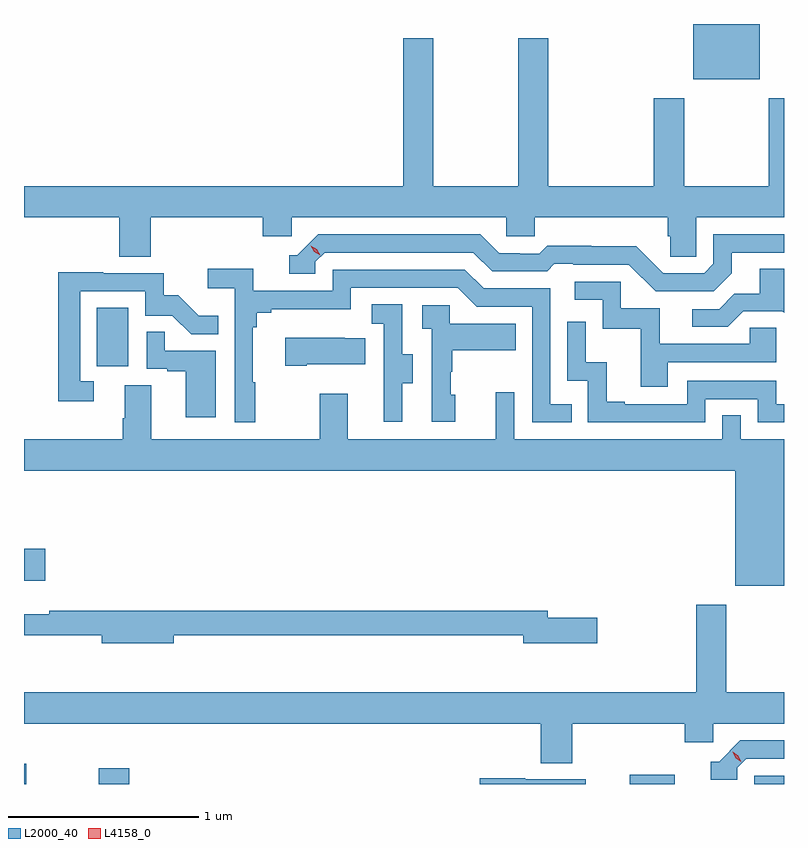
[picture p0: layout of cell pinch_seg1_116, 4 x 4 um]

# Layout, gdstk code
import gdstk
lib = gdstk.Library(unit=1e-6, precision=1e-09)
def R(c, l, rs):  # rectangles x0, y0, x1, y1
    for r in rs: c.add(gdstk.rectangle(r[:2], r[2:], *l))
def P(c, l, *ps):  # polygons
    for p in ps: c.add(gdstk.Polygon(p, *l))
L2000_40 = (2000, 40)
L4158_0 = (4158, 0)

pinch_seg1_116 = lib.new_cell('pinch_seg1_116')
R(pinch_seg1_116, L2000_40, [(1071.584,543.422,1071.595,543.528), (1071.977,543.422,1072.138,543.505), (1074.771,543.422,1075.01,543.47), (1075.428,543.422,1075.584,543.465), (1071.584,544.493,1071.697,544.659), (1071.968,545.622,1072.132,545.929), (1075.106,547.13,1075.456,547.422)])
P(pinch_seg1_116, L2000_40, [(1072.25,546.404),(1072.841,546.404),(1072.841,546.306),(1072.992,546.306),(1072.992,546.404),(1074.123,546.404),(1074.123,546.306),(1074.273,546.306),(1074.273,546.404),(1074.971,546.404),(1074.971,546.306),(1074.985,546.306),(1074.985,546.196),(1075.122,546.196),(1075.122,546.404),(1075.584,546.404),(1075.584,547.03),(1075.504,547.03),(1075.504,546.568),(1075.059,546.568),(1075.059,547.03),(1074.899,547.03),(1074.899,546.568),(1074.344,546.568),(1074.344,547.348),(1074.184,547.348),(1074.184,546.568),(1073.739,546.568),(1073.739,547.348),(1073.579,547.348),(1073.579,546.568),(1071.584,546.568),(1071.584,546.404),(1072.085,546.404),(1072.085,546.196),(1072.25,546.196)],
  [(1075.309,546.109),(1075.309,546.219),(1075.584,546.219),(1075.584,546.315),(1075.212,546.315),(1075.212,546.159),(1075.164,546.111),(1074.948,546.111),(1074.806,546.253),(1074.57,546.253),(1074.57,546.256),(1074.337,546.256),(1074.295,546.213),(1074.192,546.213),(1074.192,546.216),(1074.085,546.216),(1073.986,546.315),(1073.133,546.315),(1073.022,546.204),(1072.979,546.204),(1072.979,546.108),(1073.118,546.108),(1073.118,546.171),(1073.166,546.219),(1073.949,546.219),(1074.048,546.12),(1074.337,546.12),(1074.376,546.159),(1074.475,546.159),(1074.475,546.156),(1074.768,546.156),(1074.909,546.015),(1075.215,546.015)],
  [(1075.369,545.91),(1075.575,545.91),(1075.584,545.901),(1075.584,546.134),(1075.457,546.134),(1075.457,546.002),(1075.322,546.002),(1075.242,545.922),(1075.101,545.922),(1075.101,545.829),(1075.288,545.829)],
  [(1072.801,545.537),(1072.789,545.537),(1072.789,545.825),(1072.808,545.825),(1072.808,545.902),(1072.885,545.902),(1072.885,545.921),(1073.304,545.921),(1073.304,546.033),(1073.868,546.033),(1073.967,545.934),(1074.258,545.934),(1074.258,545.325),(1074.467,545.325),(1074.467,545.421),(1074.354,545.421),(1074.354,546.03),(1074.004,546.03),(1073.905,546.129),(1073.208,546.129),(1073.208,546.018),(1072.79,546.018),(1072.79,546.134),(1072.551,546.134),(1072.551,546.032),(1072.692,546.032),(1072.692,545.325),(1072.801,545.325)],
  [(1071.952,545.541),(1071.879,545.541),(1071.879,546.015),(1072.221,546.015),(1072.221,545.886),(1072.365,545.886),(1072.463,545.788),(1072.607,545.788),(1072.607,545.887),(1072.503,545.887),(1072.396,545.994),(1072.32,545.994),(1072.32,546.111),(1072.001,546.111),(1072.001,546.116),(1071.763,546.116),(1071.763,545.436),(1071.952,545.436)],
  [(1074.973,545.643),(1075.542,545.643),(1075.542,545.823),(1075.405,545.823),(1075.405,545.739),(1074.931,545.739),(1074.931,545.925),(1074.726,545.925),(1074.726,546.066),(1074.483,546.066),(1074.483,545.97),(1074.63,545.97),(1074.63,545.817),(1074.829,545.817),(1074.829,545.514),(1074.973,545.514)],
  [(1073.575,545.53),(1073.629,545.53),(1073.629,545.685),(1073.574,545.685),(1073.574,545.948),(1073.415,545.948),(1073.415,545.845),(1073.478,545.845),(1073.478,545.541),(1073.477,545.541),(1073.477,545.328),(1073.575,545.328)],
  [(1073.854,545.472),(1073.829,545.472),(1073.829,545.591),(1073.839,545.591),(1073.839,545.705),(1074.173,545.705),(1074.173,545.845),(1073.826,545.845),(1073.826,545.943),(1073.679,545.943),(1073.679,545.819),(1073.73,545.819),(1073.73,545.328),(1073.854,545.328)],
  [(1075.17,545.448),(1075.446,545.448),(1075.446,545.325),(1075.584,545.325),(1075.584,545.421),(1075.542,545.421),(1075.542,545.544),(1075.074,545.544),(1075.074,545.421),(1074.745,545.421),(1074.745,545.434),(1074.65,545.434),(1074.65,545.642),(1074.54,545.642),(1074.54,545.854),(1074.444,545.854),(1074.444,545.544),(1074.552,545.544),(1074.552,545.325),(1075.17,545.325)],
  [(1072.594,545.703),(1072.325,545.703),(1072.325,545.801),(1072.23,545.801),(1072.23,545.607),(1072.337,545.607),(1072.337,545.595),(1072.436,545.595),(1072.436,545.352),(1072.594,545.352)],
  [(1073.071,545.63),(1073.381,545.63),(1073.381,545.767),(1073.273,545.767),(1073.273,545.77),(1072.959,545.77),(1072.959,545.623),(1073.071,545.623)],
  [(1075.584,545.236),(1075.356,545.236),(1075.356,545.363),(1075.26,545.363),(1075.26,545.236),(1074.165,545.236),(1074.165,545.485),(1074.068,545.485),(1074.068,545.236),(1073.287,545.236),(1073.287,545.476),(1073.14,545.476),(1073.14,545.236),(1072.255,545.236),(1072.255,545.522),(1072.115,545.522),(1072.115,545.348),(1072.103,545.348),(1072.103,545.236),(1071.584,545.236),(1071.584,545.072),(1075.328,545.072),(1075.328,544.466),(1075.584,544.466)],
  [(1074.47,543.74),(1075.061,543.74),(1075.061,543.642),(1075.212,543.642),(1075.212,543.74),(1075.584,543.74),(1075.584,543.904),(1075.281,543.904),(1075.281,544.366),(1075.121,544.366),(1075.121,543.904),(1071.584,543.904),(1071.584,543.74),(1074.305,543.74),(1074.305,543.532),(1074.47,543.532)],
  [(1072.372,544.206),(1074.212,544.206),(1074.212,544.163),(1074.601,544.163),(1074.601,544.298),(1074.34,544.298),(1074.34,544.334),(1071.717,544.334),(1071.717,544.315),(1071.584,544.315),(1071.584,544.206),(1071.992,544.206),(1071.992,544.163),(1072.372,544.163)],
  [(1075.338,543.507),(1075.386,543.555),(1075.584,543.555),(1075.584,543.651),(1075.353,543.651),(1075.242,543.54),(1075.199,543.54),(1075.199,543.444),(1075.338,543.444)],
  [(1074.54,543.447),(1074.221,543.447),(1074.221,543.452),(1073.983,543.452),(1073.983,543.422),(1074.54,543.422)])
P(pinch_seg1_116, L4158_0, [(1073.142,546.205),(1073.111,546.224),(1073.094,546.256),(1073.094,546.256),(1073.094,546.256),(1073.125,546.237),(1073.142,546.205),(1073.142,546.205)],
  [(1075.36,543.539),(1075.329,543.558),(1075.313,543.591),(1075.313,543.591),(1075.313,543.591),(1075.344,543.572),(1075.36,543.54),(1075.36,543.539)])

lib.write_gds('pinch_seg1_116.gds')
